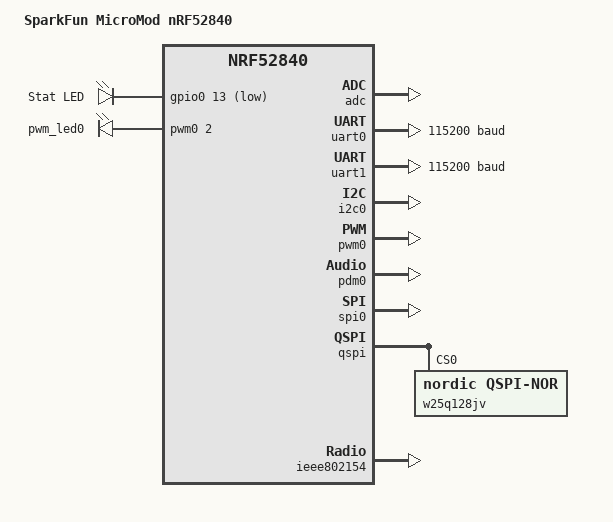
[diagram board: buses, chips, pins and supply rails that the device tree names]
/*
 * Copyright (c) 2024 Abdulrahman Aminu <aminuabdulrahmandayo@gmail.com>
 *
 * SPDX-License-Identifier: Apache-2.0
 */

/dts-v1/;
#include <nordic/nrf52840_qiaa.dtsi>
#include "mymicromod_nrf52840.dtsi"
#include "mymicromod_nrf_header.dtsi"

/ {
	model = "SparkFun MicroMod nRF52840";
	compatible = "sparkfun,mymicromod-nrf52840";

	chosen {
		zephyr,console = &uart0;
		zephyr,shell-uart = &uart0;
		zephyr,sram = &sram0;
		zephyr,flash = &flash0;
		zephyr,code-partition = &slot0_partition;
		zephyr,ieee802154 = &ieee802154;
	};

	leds: leds {
		compatible = "gpio-leds";
		led0: led_0 {
			gpios = <&gpio0 13 GPIO_ACTIVE_LOW>;
			label = "Stat LED";
		};
	};

	pwmleds {
		compatible = "pwm-leds";
		// pwm0 Ch 2
		pwm_led0: pwm_led_0 {
			pwms = <&pwm0 2 PWM_MSEC(20) PWM_POLARITY_NORMAL>;
		};
	};


	/* These aliases are provided for compatibility with samples */
	aliases {
		led0 = &led0;
		bootloader-led0 = &led0;
		mcuboot-led0 = &led0;
		watchdog0 = &wdt0;
		pwm-led0 = &pwm_led0;
	};
};

&adc {
	status = "okay";
};

&uicr {
	gpio-as-nreset;
};

&gpiote {
	status = "okay";
};

&gpio0 {
	status = "okay";
};

&gpio1 {
	status = "okay";
};

&uart0 {
	compatible = "nordic,nrf-uarte";
	status = "okay";
	current-speed = <115200>;
	pinctrl-0 = <&uart0_default>;
	pinctrl-1 = <&uart0_sleep>;
	pinctrl-names = "default", "sleep";
};

&uart1 {
	compatible = "nordic,nrf-uarte";
	status = "okay";
	current-speed = <115200>;
	pinctrl-0 = <&uart1_default>;
	pinctrl-1 = <&uart1_sleep>;
	pinctrl-names = "default", "sleep";
};

&i2c0 {
	compatible = "nordic,nrf-twi";
	status = "okay";
	pinctrl-0 = <&i2c0_default>;
	pinctrl-1 = <&i2c0_sleep>;
	pinctrl-names = "default", "sleep";
};

&i2c1 {
	compatible = "nordic,nrf-twi";
	/* Cannot be used together with spi1. */
	/* status = "okay"; */
	pinctrl-0 = <&i2c1_default>;
	pinctrl-1 = <&i2c1_sleep>;
	pinctrl-names = "default", "sleep";
};

&pwm0 {
	status = "okay";
	pinctrl-0 = <&pwm0_default>;
	pinctrl-1 = <&pwm0_sleep>;
	pinctrl-names = "default", "sleep";
};

&pdm0 {
	status = "okay";
	pinctrl-0 = <&pdm0_default>;
	pinctrl-names = "default";
	clock-source = "PCLK32M_HFXO";
};

&spi0 {
	compatible = "nordic,nrf-spi";
	status = "okay";
	pinctrl-0 = <&spi0_default>;
	pinctrl-1 = <&spi0_sleep>;
	pinctrl-names = "default", "sleep";
};


&qspi {
	status = "okay";
	pinctrl-0 = <&qspi_default>;
	pinctrl-1 = <&qspi_sleep>;
	pinctrl-names = "default", "sleep";
	w25q128jv: w25q128jv@0 {
		status="okay";
		compatible = "nordic,qspi-nor";
		reg = <0>;
		jedec-id = [ EF 70 18  ];
		size = <DT_SIZE_M(128)>;
		readoc = "fastread";
		writeoc = "pp";
		sck-frequency = <DT_FREQ_M(32)>;
		has-dpd;
		t-enter-dpd = <3000>;
		t-exit-dpd = <3500>;
	};
};

&ieee802154 {
	status = "okay";
};

&flash0 {

	partitions {
		compatible = "fixed-partitions";
		#address-cells = <1>;
		#size-cells = <1>;

		boot_partition: partition@0 {
			label = "mcuboot";
			reg = <0x00000000 0x0000C000>;
		};
		slot0_partition: partition@c000 {
			label = "image-0";
			reg = <0x0000C000 0x00076000>;
		};
		slot1_partition: partition@82000 {
			label = "image-1";
			reg = <0x00082000 0x00076000>;
		};

		/*
		 * The flash starting at 0x000f8000 and ending at
		 * 0x000fffff is reserved for use by the application.
		 */

		/*
		 * Storage partition will be used by FCB/LittleFS/NVS
		 * if enabled.
		 */
		storage_partition: partition@f8000 {
			label = "storage";
			reg = <0x000f8000 0x00008000>;
		};
	};
};
